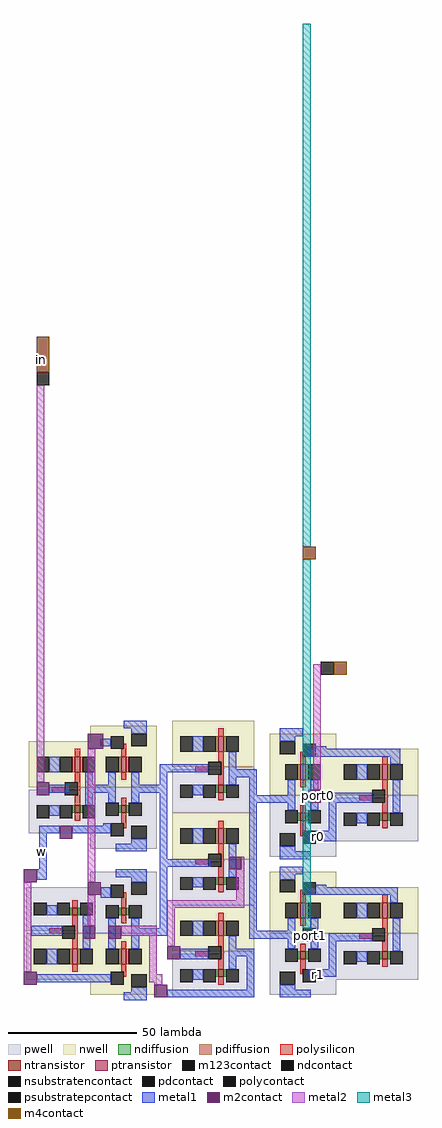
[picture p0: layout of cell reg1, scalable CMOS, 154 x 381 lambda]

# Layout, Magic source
magic
tech scmos
<< nwell >>
rect 118 26 124 44
<< pwell >>
rect 118 62 119 78
rect 117 9 124 25
rect 87 1 88 4
<< metal1 >>
rect 111 95 147 98
rect 143 92 147 95
rect 53 89 72 92
rect 53 84 56 89
rect 80 87 91 90
rect 10 81 18 84
rect 26 81 35 84
rect 42 81 56 84
rect 6 65 14 68
rect 6 51 9 65
rect 19 65 34 68
rect 5 47 9 51
rect 53 55 56 81
rect 88 80 91 87
rect 88 77 103 80
rect 119 77 136 81
rect 53 52 73 55
rect 30 43 34 44
rect 30 40 33 43
rect 3 25 15 29
rect 53 28 56 52
rect 42 25 56 28
rect 88 27 91 77
rect 119 66 122 77
rect 117 65 122 66
rect 111 62 122 65
rect 111 41 146 44
rect 143 38 146 41
rect 88 24 103 27
rect 119 23 136 26
rect 61 16 72 20
rect 80 17 90 20
rect 5 7 34 10
rect 87 4 90 17
rect 119 12 122 23
rect 111 9 122 12
rect 56 1 90 4
<< m2contact >>
rect 25 98 31 104
rect 5 80 10 85
rect 14 63 19 68
rect 0 46 5 51
rect 111 77 116 82
rect 25 41 30 46
rect 23 24 28 29
rect 33 24 38 29
rect 80 51 85 56
rect 56 16 61 21
rect 0 6 5 11
rect 51 1 56 6
<< metal2 >>
rect 5 85 8 240
rect 25 46 28 98
rect 113 82 116 131
rect 85 51 86 56
rect 0 11 3 46
rect 25 29 28 41
rect 83 39 86 51
rect 56 36 86 39
rect 38 25 52 29
rect 49 10 52 25
rect 56 21 59 36
rect 49 7 54 10
rect 51 6 54 7
<< m123contact >>
rect 5 240 10 245
rect 116 127 121 132
rect 109 23 114 28
<< metal3 >>
rect 109 177 112 381
rect 109 28 112 172
<< m4contact >>
rect 5 245 10 259
rect 109 172 114 177
rect 121 127 126 132
use invo  invo_0
transform 1 0 24 0 1 85
box -22 -20 10 16
use invo  invo_4
transform 1 0 144 0 1 28
box -22 -20 10 16
use transo  transo_2
array 0 0 0 0 1 54
transform -1 0 109 0 1 28
box -13 -27 13 24
use invo  invo_2
transform 1 0 23 0 -1 24
box -22 -20 10 16
use invo  invo_1
array 0 0 0 0 2 36
transform 1 0 80 0 1 21
box -22 -20 10 16
use invo  invo_3
transform 1 0 144 0 1 82
box -22 -20 10 16
use transo  transo_0
transform 1 0 39 0 1 85
box -13 -27 13 24
use transo  transo_1
transform 1 0 39 0 -1 24
box -13 -27 13 24
<< labels >>
rlabel m2contact 115 80 115 80 7 port0
port 6 w
rlabel m123contact 112 25 112 25 1 port1
port 7 n
rlabel metal1 7 58 7 58 1 w
rlabel metal1 115 10 115 10 7 r1
port 3 w
rlabel metal1 115 64 115 64 7 r0
port 5 w
rlabel m4contact 7 250 7 250 1 in
<< end >>

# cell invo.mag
magic
tech scmos
<< nwell >>
rect -22 -2 10 16
<< pwell >>
rect -2 -3 10 -2
rect -22 -20 10 -3
<< ntransistor >>
rect -4 -12 -2 -9
<< ptransistor >>
rect -4 4 -2 10
<< ndiffusion >>
rect -5 -12 -4 -9
rect -2 -12 -1 -9
<< pdiffusion >>
rect -5 4 -4 10
rect -2 4 -1 10
<< ndcontact >>
rect -10 -14 -5 -9
rect -1 -14 4 -9
<< pdcontact >>
rect -10 4 -5 10
rect -1 4 4 10
<< psubstratepcontact >>
rect -19 -14 -14 -9
<< nsubstratencontact >>
rect -19 4 -14 10
<< polysilicon >>
rect -4 10 -2 13
rect -4 0 -2 4
rect -13 -4 -8 -2
rect -3 -5 -2 0
rect -4 -9 -2 -5
rect -4 -15 -2 -12
<< polycontact >>
rect -8 -5 -3 0
<< metal1 >>
rect -14 4 -10 10
rect 0 -9 3 4
rect -14 -13 -10 -9
<< labels >>
rlabel polysilicon -12 -3 -12 -3 1 in
port 2 n
rlabel metal1 -11 -11 -11 -11 1 GND!
port 3 n
rlabel metal1 -12 7 -12 7 1 Vdd!
port 4 n
rlabel metal1 1 -2 1 -2 1 out
port 1 n
<< end >>

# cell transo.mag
magic
tech scmos
<< nwell >>
rect -13 -2 13 22
<< pwell >>
rect -13 -26 13 -2
<< ntransistor >>
rect -1 -12 1 -9
<< ptransistor >>
rect -1 4 1 10
<< ndiffusion >>
rect -2 -12 -1 -9
rect 1 -12 2 -9
<< pdiffusion >>
rect -2 4 -1 10
rect 1 4 2 10
<< ndcontact >>
rect -7 -13 -2 -8
rect 2 -13 7 -8
<< pdcontact >>
rect -7 4 -2 10
rect 2 4 7 10
<< psubstratepcontact >>
rect 3 -22 9 -17
<< nsubstratencontact >>
rect 3 14 9 19
<< polysilicon >>
rect 0 13 1 15
rect -1 10 1 13
rect -1 1 1 4
rect -1 -9 1 -6
rect -1 -16 1 -12
rect 0 -18 1 -16
<< polycontact >>
rect -5 13 0 18
rect -5 -21 0 -16
<< metal1 >>
rect 0 21 9 24
rect 3 19 9 21
rect -9 14 -5 17
rect -6 -8 -3 4
rect 3 -8 6 4
rect -8 -19 -5 -16
rect 3 -24 9 -22
rect -3 -27 9 -24
<< labels >>
rlabel metal1 -5 -3 -5 -3 1 A
port 3 n
rlabel metal1 4 -3 4 -3 1 Z
port 4 n
rlabel polysilicon 0 -16 0 -16 1 EN
port 5 n
rlabel polysilicon 0 13 0 13 1 ENB
port 6 n
rlabel metal1 0 -25 0 -25 1 GND!
port 2 n
rlabel metal1 3 21 3 21 5 Vdd!
port 1 s
<< end >>
